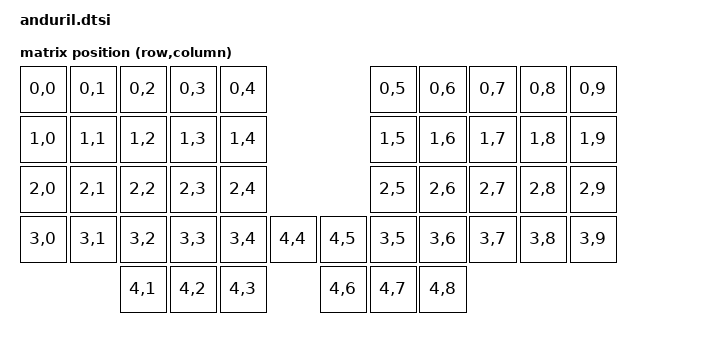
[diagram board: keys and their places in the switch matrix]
#include <dt-bindings/zmk/physical-layout.h>

/ {
    layouts {
        compatible = "zmk,layout";

        layout_5x10: layout_5x10 {
            compatible = "zmk,layout";
            rows = <5>;
            columns = <10>;

            map = <
                RC(0,0) RC(0,1) RC(0,2) RC(0,3) RC(0,4)                    RC(0,5) RC(0,6) RC(0,7) RC(0,8) RC(0,9)
                RC(1,0) RC(1,1) RC(1,2) RC(1,3) RC(1,4)                    RC(1,5) RC(1,6) RC(1,7) RC(1,8) RC(1,9)
                RC(2,0) RC(2,1) RC(2,2) RC(2,3) RC(2,4)                    RC(2,5) RC(2,6) RC(2,7) RC(2,8) RC(2,9)
                RC(3,0) RC(3,1) RC(3,2) RC(3,3) RC(3,4) RC(4,4)    RC(4,5) RC(3,5) RC(3,6) RC(3,7) RC(3,8) RC(3,9)
                                RC(4,1) RC(4,2) RC(4,3)            RC(4,6) RC(4,7) RC(4,8)
            >;
        };
    };

    physical_layouts {
        compatible = "zmk,physical-layout";

        physical_layout_5x10: physical_layout_5x10 {
            compatible = "zmk,physical-layout";
            rows = <5>;
            columns = <10>;
        };
    };
};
